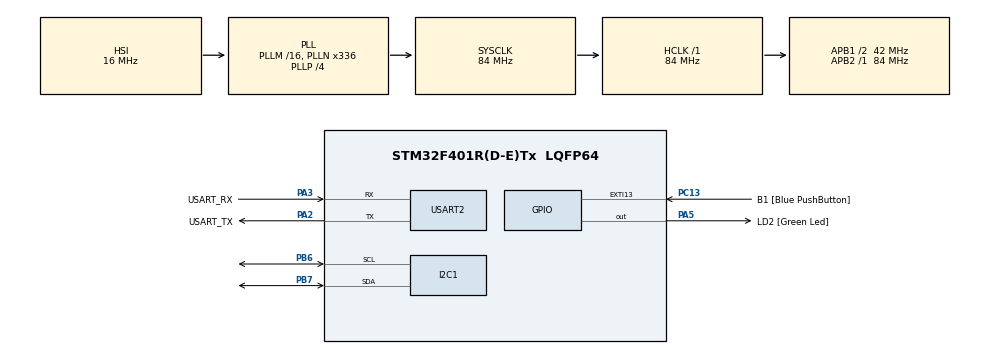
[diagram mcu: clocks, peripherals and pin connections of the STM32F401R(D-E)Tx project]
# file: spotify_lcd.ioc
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Mcu.Family=STM32F4
Mcu.Name=STM32F401R(D-E)Tx
Mcu.Package=LQFP64
NVIC.PriorityGroup=NVIC_PRIORITYGROUP_4
NVIC.TIM1_TRG_COM_TIM11_IRQn=true\:0\:0\:false\:false\:true\:true\:true\:true
NVIC.USART2_IRQn=true\:0\:0\:false\:false\:true\:true\:true\:true
PA13.GPIO_Label=TMS
PA13.Mode=Trace_Asynchronous_SW
PA13.Signal=SYS_JTMS-SWDIO
PA14.GPIO_Label=TCK
PA14.Mode=Trace_Asynchronous_SW
PA14.Signal=SYS_JTCK-SWCLK
PA2.GPIO_Label=USART_TX
PA2.GPIO_Mode=GPIO_MODE_AF_PP
PA2.GPIO_PuPd=GPIO_NOPULL
PA2.GPIO_Speed=GPIO_SPEED_FREQ_LOW
PA2.Mode=Asynchronous
PA2.Signal=USART2_TX
PA3.GPIO_Label=USART_RX
PA3.GPIO_Mode=GPIO_MODE_AF_PP
PA3.GPIO_PuPd=GPIO_NOPULL
PA3.GPIO_Speed=GPIO_SPEED_FREQ_LOW
PA3.Mode=Asynchronous
PA3.Signal=USART2_RX
PA5.GPIO_Label=LD2 [Green Led]
PA5.GPIO_Mode=GPIO_MODE_OUTPUT_PP
PA5.GPIO_PuPd=GPIO_NOPULL
PA5.GPIO_Speed=GPIO_SPEED_FREQ_LOW
PA5.Signal=GPIO_Output
PB3.GPIO_Label=SWO
PB3.Mode=Trace_Asynchronous_SW
PB3.Signal=SYS_JTDO-SWO
PB6.Mode=I2C
PB6.Signal=I2C1_SCL
PB7.Mode=I2C
PB7.Signal=I2C1_SDA
PC13-ANTI_TAMP.GPIO_Label=B1 [Blue PushButton]
PC13-ANTI_TAMP.GPIO_ModeDefaultEXTI=GPIO_MODE_IT_FALLING
PC13-ANTI_TAMP.GPIO_PuPd=GPIO_NOPULL
PC13-ANTI_TAMP.Signal=GPXTI13
PC14-OSC32_IN.Mode=LSE-External-Oscillator
PC14-OSC32_IN.Signal=RCC_OSC32_IN
PC15-OSC32_OUT.Mode=LSE-External-Oscillator
PC15-OSC32_OUT.Signal=RCC_OSC32_OUT
PH0\ -\ OSC_IN.Mode=HSE-External-Clock-Source
PH0\ -\ OSC_IN.Signal=RCC_OSC_IN
PH1\ -\ OSC_OUT.Mode=HSE-External-Clock-Source
PH1\ -\ OSC_OUT.Signal=RCC_OSC_OUT
ProjectManager.HeapSize=0x200
ProjectManager.StackSize=0x400
ProjectManager.TargetToolchain=STM32CubeIDE
RCC.48MHZClocksFreq_Value=48000000
RCC.AHBFreq_Value=84000000
RCC.APB1CLKDivider=RCC_HCLK_DIV2
RCC.APB1Freq_Value=42000000
RCC.APB1TimFreq_Value=84000000
RCC.APB2Freq_Value=84000000
RCC.APB2TimFreq_Value=84000000
RCC.CortexFreq_Value=84000000
RCC.HCLKFreq_Value=84000000
RCC.HSE_VALUE=8000000
RCC.HSI_VALUE=16000000
RCC.PLLN=336
RCC.PLLP=RCC_PLLP_DIV4
RCC.PLLQ=7
RCC.SYSCLKFreq_VALUE=84000000
RCC.SYSCLKSource=RCC_SYSCLKSOURCE_PLLCLK
RCC.VCOOutputFreq_Value=336000000
TIM11.Period=10000 - 1
TIM11.Prescaler=8400 - 1
USART2.VirtualMode=VM_ASYNC
VP_TIM11_VS_ClockSourceINT.Mode=Enable_Timer
board=NUCLEO-F401RE

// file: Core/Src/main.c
/* USER CODE BEGIN Header */
/**
  ******************************************************************************
  * @file           : main.c
  * @brief          : Main program body
  ******************************************************************************
  * @attention
  *
  * Copyright (c) 2026 STMicroelectronics.
  * All rights reserved.
  *
  * This software is licensed under terms that can be found in the LICENSE file
  * in the root directory of this software component.
  * If no LICENSE file comes with this software, it is provided AS-IS.
  *
  ******************************************************************************
  */
/* USER CODE END Header */
#include "main.h"

/* USER CODE BEGIN Includes */
#include "i2c-lcd.h"
#include "music_widget.h"
#include <string.h>
#include <stdio.h>

/* USER CODE END Includes */

I2C_HandleTypeDef hi2c1;

TIM_HandleTypeDef htim11;

UART_HandleTypeDef huart2;

/* USER CODE BEGIN PV */
volatile uint8_t scroll_due = 0;
volatile uint8_t msg_ready = 0;

uint8_t rx_byte; 		    // incoming byte
char rcvd_message[128]; // title|artist|progress|is_playing
int idx = 0;			      // current char index

/* USER CODE END PV */

void SystemClock_Config(void);
static void MX_GPIO_Init(void);
static void MX_USART2_UART_Init(void);
static void MX_I2C1_Init(void);
static void MX_TIM11_Init(void);

/* USER CODE BEGIN 0 */
/* Redirect printf to USART2 */
int __io_putchar(int ch)
{
    HAL_UART_Transmit(&huart2, (uint8_t*)&ch, 1, HAL_MAX_DELAY);
    return ch;
}
/* USER CODE END 0 */

int main(void)
{

  /* MCU Configuration--------------------------------------------------------*/

  /* Reset of all peripherals, Initializes the Flash interface and the Systick. */
  HAL_Init();

  /* Configure the system clock */
  SystemClock_Config();

  /* Initialize all configured peripherals */
  MX_GPIO_Init();
  MX_USART2_UART_Init();
  MX_I2C1_Init();
  MX_TIM11_Init();
  /* USER CODE BEGIN 2 */
  widget_init();
  HAL_TIM_Base_Start_IT(&htim11);
  HAL_UART_Receive_IT(&huart2, &rx_byte, 1); // nonblocking UART listener

  /* USER CODE END 2 */

  /* Infinite loop */
  /* USER CODE BEGIN WHILE */
  while (1)
  {
    if (scroll_due) {
        scroll_due = 0;
        widget_render_scroll();
    }

    if (msg_ready) {
        msg_ready = 0;
        widget_handle_message(rcvd_message);
    }
    /* USER CODE END WHILE */

  }
}

void SystemClock_Config(void)
{
  RCC_OscInitTypeDef RCC_OscInitStruct = {0};
  RCC_ClkInitTypeDef RCC_ClkInitStruct = {0};

  /** Configure the main internal regulator output voltage
  */
  __HAL_RCC_PWR_CLK_ENABLE();
  __HAL_PWR_VOLTAGESCALING_CONFIG(PWR_REGULATOR_VOLTAGE_SCALE2);

  /** Initializes the RCC Oscillators according to the specified parameters
  * in the RCC_OscInitTypeDef structure.
  */
  RCC_OscInitStruct.OscillatorType = RCC_OSCILLATORTYPE_HSI;
  RCC_OscInitStruct.HSIState = RCC_HSI_ON;
  RCC_OscInitStruct.HSICalibrationValue = RCC_HSICALIBRATION_DEFAULT;
  RCC_OscInitStruct.PLL.PLLState = RCC_PLL_ON;
  RCC_OscInitStruct.PLL.PLLSource = RCC_PLLSOURCE_HSI;
  RCC_OscInitStruct.PLL.PLLM = 16;
  RCC_OscInitStruct.PLL.PLLN = 336;
  RCC_OscInitStruct.PLL.PLLP = RCC_PLLP_DIV4;
  RCC_OscInitStruct.PLL.PLLQ = 7;
  if (HAL_RCC_OscConfig(&RCC_OscInitStruct) != HAL_OK)
  {
    Error_Handler();
  }

  /** Initializes the CPU, AHB and APB buses clocks
  */
  RCC_ClkInitStruct.ClockType = RCC_CLOCKTYPE_HCLK|RCC_CLOCKTYPE_SYSCLK
                              |RCC_CLOCKTYPE_PCLK1|RCC_CLOCKTYPE_PCLK2;
  RCC_ClkInitStruct.SYSCLKSource = RCC_SYSCLKSOURCE_PLLCLK;
  RCC_ClkInitStruct.AHBCLKDivider = RCC_SYSCLK_DIV1;
  RCC_ClkInitStruct.APB1CLKDivider = RCC_HCLK_DIV2;
  RCC_ClkInitStruct.APB2CLKDivider = RCC_HCLK_DIV1;

  if (HAL_RCC_ClockConfig(&RCC_ClkInitStruct, FLASH_LATENCY_2) != HAL_OK)
  {
    Error_Handler();
  }
}

static void MX_I2C1_Init(void)
{

  hi2c1.Instance = I2C1;
  hi2c1.Init.ClockSpeed = 100000;
  hi2c1.Init.DutyCycle = I2C_DUTYCYCLE_2;
  hi2c1.Init.OwnAddress1 = 0;
  hi2c1.Init.AddressingMode = I2C_ADDRESSINGMODE_7BIT;
  hi2c1.Init.DualAddressMode = I2C_DUALADDRESS_DISABLE;
  hi2c1.Init.OwnAddress2 = 0;
  hi2c1.Init.GeneralCallMode = I2C_GENERALCALL_DISABLE;
  hi2c1.Init.NoStretchMode = I2C_NOSTRETCH_DISABLE;
  if (HAL_I2C_Init(&hi2c1) != HAL_OK)
  {
    Error_Handler();
  }

}

static void MX_TIM11_Init(void)
{

  htim11.Instance = TIM11;
  htim11.Init.Prescaler = 8400 - 1;
  htim11.Init.CounterMode = TIM_COUNTERMODE_UP;
  htim11.Init.Period = 10000 - 1;
  htim11.Init.ClockDivision = TIM_CLOCKDIVISION_DIV1;
  htim11.Init.AutoReloadPreload = TIM_AUTORELOAD_PRELOAD_DISABLE;
  if (HAL_TIM_Base_Init(&htim11) != HAL_OK)
  {
    Error_Handler();
  }

}

static void MX_USART2_UART_Init(void)
{

  huart2.Instance = USART2;
  huart2.Init.BaudRate = 115200;
  huart2.Init.WordLength = UART_WORDLENGTH_8B;
  huart2.Init.StopBits = UART_STOPBITS_1;
  huart2.Init.Parity = UART_PARITY_NONE;
  huart2.Init.Mode = UART_MODE_TX_RX;
  huart2.Init.HwFlowCtl = UART_HWCONTROL_NONE;
  huart2.Init.OverSampling = UART_OVERSAMPLING_16;
  if (HAL_UART_Init(&huart2) != HAL_OK)
  {
    Error_Handler();
  }

}

static void MX_GPIO_Init(void)
{
  GPIO_InitTypeDef GPIO_InitStruct = {0};

  /* GPIO Ports Clock Enable */
  __HAL_RCC_GPIOC_CLK_ENABLE();
  __HAL_RCC_GPIOH_CLK_ENABLE();
  __HAL_RCC_GPIOA_CLK_ENABLE();
  __HAL_RCC_GPIOB_CLK_ENABLE();

  /*Configure GPIO pin Output Level */
  HAL_GPIO_WritePin(LD2_GPIO_Port, LD2_Pin, GPIO_PIN_RESET);

  /*Configure GPIO pin : B1_Pin */
  GPIO_InitStruct.Pin = B1_Pin;
  GPIO_InitStruct.Mode = GPIO_MODE_IT_FALLING;
  GPIO_InitStruct.Pull = GPIO_NOPULL;
  HAL_GPIO_Init(B1_GPIO_Port, &GPIO_InitStruct);

  /*Configure GPIO pin : LD2_Pin */
  GPIO_InitStruct.Pin = LD2_Pin;
  GPIO_InitStruct.Mode = GPIO_MODE_OUTPUT_PP;
  GPIO_InitStruct.Pull = GPIO_NOPULL;
  GPIO_InitStruct.Speed = GPIO_SPEED_FREQ_LOW;
  HAL_GPIO_Init(LD2_GPIO_Port, &GPIO_InitStruct);

}

/* USER CODE BEGIN 4 */
void HAL_TIM_PeriodElapsedCallback(TIM_HandleTypeDef *htim)
{
    if (htim->Instance == TIM11)
    {
        scroll_due = 1;
    }
}

// Handle UART receipt interrupt
void HAL_UART_RxCpltCallback(UART_HandleTypeDef *huart) {
  if (huart->Instance == USART2) {
    if (rx_byte == '\n' || rx_byte == '\r') {
        rcvd_message[idx] = '\0';
        msg_ready = 1;
        idx = 0;
    }
    else if (idx < sizeof(rcvd_message) - 1) {
        rcvd_message[idx++] = rx_byte;
    }

    HAL_UART_Receive_IT(&huart2, &rx_byte, 1);
  }
}

/* USER CODE END 4 */

void Error_Handler(void)
{
  __disable_irq();
  while (1)
  {
  }
}
